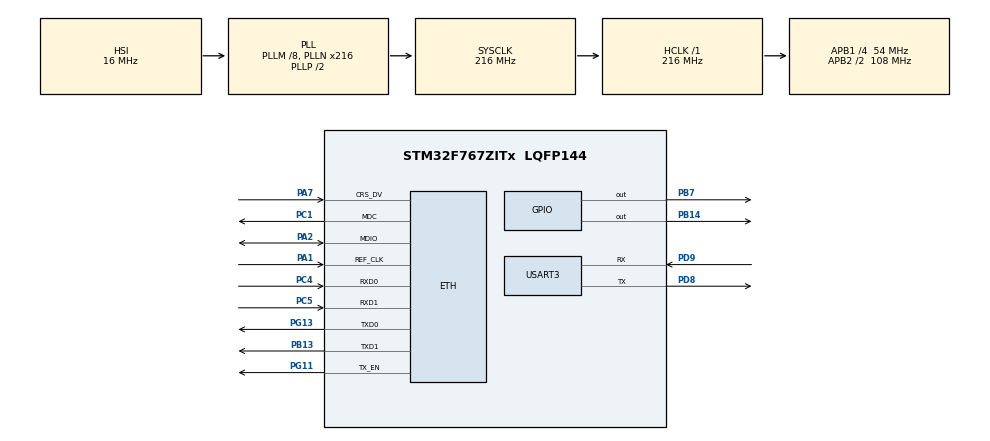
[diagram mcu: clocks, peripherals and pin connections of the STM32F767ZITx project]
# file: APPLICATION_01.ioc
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CORTEX_M7.default_mode_Activation=1
ETH.MediaInterface=HAL_ETH_RMII_MODE
ETH.RxMode=ETH_RXINTERRUPT_MODE
Mcu.Family=STM32F7
Mcu.Name=STM32F767ZITx
Mcu.Package=LQFP144
NVIC.ETH_IRQn=true\:0\:0\:false\:false\:true\:true\:true\:true
NVIC.PriorityGroup=NVIC_PRIORITYGROUP_4
PA1.Mode=RMII
PA1.Signal=ETH_REF_CLK
PA2.Mode=RMII
PA2.Signal=ETH_MDIO
PA7.Mode=RMII
PA7.Signal=ETH_CRS_DV
PB13.Mode=RMII
PB13.Signal=ETH_TXD1
PB14.Signal=GPIO_Output
PB7.Signal=GPIO_Output
PC1.Mode=RMII
PC1.Signal=ETH_MDC
PC4.Mode=RMII
PC4.Signal=ETH_RXD0
PC5.Mode=RMII
PC5.Signal=ETH_RXD1
PD8.Mode=Asynchronous
PD8.Signal=USART3_TX
PD9.Mode=Asynchronous
PD9.Signal=USART3_RX
PG11.Mode=RMII
PG11.Signal=ETH_TX_EN
PG13.Mode=RMII
PG13.Signal=ETH_TXD0
ProjectManager.HeapSize=0x200
ProjectManager.StackSize=0x400
ProjectManager.TargetToolchain=STM32CubeIDE
RCC.AHBFreq_Value=216000000
RCC.APB1CLKDivider=RCC_HCLK_DIV4
RCC.APB1Freq_Value=54000000
RCC.APB1TimFreq_Value=108000000
RCC.APB2CLKDivider=RCC_HCLK_DIV2
RCC.APB2Freq_Value=108000000
RCC.APB2TimFreq_Value=216000000
RCC.CortexFreq_Value=216000000
RCC.HCLKFreq_Value=216000000
RCC.HSE_VALUE=25000000
RCC.HSI_VALUE=16000000
RCC.LSE_VALUE=32768
RCC.PLLM=8
RCC.PLLN=216
RCC.PLLQ=9
RCC.SYSCLKFreq_VALUE=216000000
RCC.SYSCLKSource=RCC_SYSCLKSOURCE_PLLCLK
RCC.USBFreq_Value=48000000
RCC.VCOOutputFreq_Value=432000000
USART3.VirtualMode-Asynchronous=VM_ASYNC
VP_CRC_VS_CRC.Mode=CRC_Activate
VP_RNG_VS_RNG.Mode=RNG_Activate
board=custom

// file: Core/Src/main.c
/* USER CODE BEGIN Header */
/**
  ******************************************************************************
  * @file           : main.c
  * @brief          : Main program body
  ******************************************************************************
  * @attention
  *
  * Copyright (c) 2026 STMicroelectronics.
  * All rights reserved.
  *
  * This software is licensed under terms that can be found in the LICENSE file
  * in the root directory of this software component.
  * If no LICENSE file comes with this software, it is provided AS-IS.
  *
  ******************************************************************************
  */
/* USER CODE END Header */
#include <ota_support.h>
#include "main.h"
#include "string.h"

/* USER CODE BEGIN Includes */
#include <stdio.h>
#include <string.h>
#include "lan8742.h"

/* USER CODE END Includes */

#if defined ( __ICCARM__ ) /*!< IAR Compiler */
#pragma location=0x2007c000
ETH_DMADescTypeDef  DMARxDscrTab[ETH_RX_DESC_CNT]; /* Ethernet Rx DMA Descriptors */
#pragma location=0x2007c0a0
ETH_DMADescTypeDef  DMATxDscrTab[ETH_TX_DESC_CNT]; /* Ethernet Tx DMA Descriptors */

#elif defined ( __CC_ARM )  /* MDK ARM Compiler */

__attribute__((at(0x2007c000))) ETH_DMADescTypeDef  DMARxDscrTab[ETH_RX_DESC_CNT]; /* Ethernet Rx DMA Descriptors */
__attribute__((at(0x2007c0a0))) ETH_DMADescTypeDef  DMATxDscrTab[ETH_TX_DESC_CNT]; /* Ethernet Tx DMA Descriptors */

#elif defined ( __GNUC__ ) /* GNU Compiler */

ETH_DMADescTypeDef DMARxDscrTab[ETH_RX_DESC_CNT] __attribute__((section(".RxDecripSection"))); /* Ethernet Rx DMA Descriptors */
ETH_DMADescTypeDef DMATxDscrTab[ETH_TX_DESC_CNT] __attribute__((section(".TxDecripSection")));   /* Ethernet Tx DMA Descriptors */
#endif

ETH_TxPacketConfig TxConfig;

CRC_HandleTypeDef hcrc;

ETH_HandleTypeDef heth;

RNG_HandleTypeDef hrng;

UART_HandleTypeDef huart3;

void SystemClock_Config(void);
static void MPU_Config(void);
static void MX_GPIO_Init(void);
static void MX_ETH_Init(void);
static void MX_USART3_UART_Init(void);
static void MX_CRC_Init(void);
static void MX_RNG_Init(void);

int main(void)
{

  /* MPU Configuration--------------------------------------------------------*/
  MPU_Config();

  /* MCU Configuration--------------------------------------------------------*/

  /* Reset of all peripherals, Initializes the Flash interface and the Systick. */
  HAL_Init();

  /* Configure the system clock */
  SystemClock_Config();

  /* Initialize all configured peripherals */
  MX_GPIO_Init();
  MX_ETH_Init();
  MX_USART3_UART_Init();
  MX_CRC_Init();
  MX_RNG_Init();
  /* USER CODE BEGIN 2 */

  LAN8742_init();
  HAL_ETH_Start_IT(&heth);
  /* USER CODE END 2 */

  /* Infinite loop */
  /* USER CODE BEGIN WHILE */
  printf("Starting Application\r\n");
  while (1)
  {
	  HAL_GPIO_TogglePin(GPIOB,GPIO_PIN_7);
	  printf("Application running %ld\r\n",HAL_GetTick());
	  HAL_Delay(1000);
    /* USER CODE END WHILE */

    /* USER CODE BEGIN 3 */
	  if(ota_requested_flag){
		  HASH_compute_verify();
	  }

  }
  /* USER CODE END 3 */
}

void SystemClock_Config(void)
{
  RCC_OscInitTypeDef RCC_OscInitStruct = {0};
  RCC_ClkInitTypeDef RCC_ClkInitStruct = {0};

  /** Configure the main internal regulator output voltage
  */
  __HAL_RCC_PWR_CLK_ENABLE();
  __HAL_PWR_VOLTAGESCALING_CONFIG(PWR_REGULATOR_VOLTAGE_SCALE1);

  /** Initializes the RCC Oscillators according to the specified parameters
  * in the RCC_OscInitTypeDef structure.
  */
  RCC_OscInitStruct.OscillatorType = RCC_OSCILLATORTYPE_HSI;
  RCC_OscInitStruct.HSIState = RCC_HSI_ON;
  RCC_OscInitStruct.HSICalibrationValue = RCC_HSICALIBRATION_DEFAULT;
  RCC_OscInitStruct.PLL.PLLState = RCC_PLL_ON;
  RCC_OscInitStruct.PLL.PLLSource = RCC_PLLSOURCE_HSI;
  RCC_OscInitStruct.PLL.PLLM = 8;
  RCC_OscInitStruct.PLL.PLLN = 216;
  RCC_OscInitStruct.PLL.PLLP = RCC_PLLP_DIV2;
  RCC_OscInitStruct.PLL.PLLQ = 9;
  RCC_OscInitStruct.PLL.PLLR = 2;
  if (HAL_RCC_OscConfig(&RCC_OscInitStruct) != HAL_OK)
  {
    Error_Handler();
  }

  /** Activate the Over-Drive mode
  */
  if (HAL_PWREx_EnableOverDrive() != HAL_OK)
  {
    Error_Handler();
  }

  /** Initializes the CPU, AHB and APB buses clocks
  */
  RCC_ClkInitStruct.ClockType = RCC_CLOCKTYPE_HCLK|RCC_CLOCKTYPE_SYSCLK
                              |RCC_CLOCKTYPE_PCLK1|RCC_CLOCKTYPE_PCLK2;
  RCC_ClkInitStruct.SYSCLKSource = RCC_SYSCLKSOURCE_PLLCLK;
  RCC_ClkInitStruct.AHBCLKDivider = RCC_SYSCLK_DIV1;
  RCC_ClkInitStruct.APB1CLKDivider = RCC_HCLK_DIV4;
  RCC_ClkInitStruct.APB2CLKDivider = RCC_HCLK_DIV2;

  if (HAL_RCC_ClockConfig(&RCC_ClkInitStruct, FLASH_LATENCY_7) != HAL_OK)
  {
    Error_Handler();
  }
}

static void MX_CRC_Init(void)
{

  hcrc.Instance = CRC;
  hcrc.Init.DefaultPolynomialUse = DEFAULT_POLYNOMIAL_ENABLE;
  hcrc.Init.DefaultInitValueUse = DEFAULT_INIT_VALUE_ENABLE;
  hcrc.Init.InputDataInversionMode = CRC_INPUTDATA_INVERSION_NONE;
  hcrc.Init.OutputDataInversionMode = CRC_OUTPUTDATA_INVERSION_DISABLE;
  hcrc.InputDataFormat = CRC_INPUTDATA_FORMAT_BYTES;
  if (HAL_CRC_Init(&hcrc) != HAL_OK)
  {
    Error_Handler();
  }

}

static void MX_ETH_Init(void)
{

   static uint8_t MACAddr[6];

  heth.Instance = ETH;
  MACAddr[0] = 0x00;
  MACAddr[1] = 0x80;
  MACAddr[2] = 0xE1;
  MACAddr[3] = 0x00;
  MACAddr[4] = 0x00;
  MACAddr[5] = 0x00;
  heth.Init.MACAddr = &MACAddr[0];
  heth.Init.MediaInterface = HAL_ETH_RMII_MODE;
  heth.Init.TxDesc = DMATxDscrTab;
  heth.Init.RxDesc = DMARxDscrTab;
  heth.Init.RxBuffLen = 1524;

  if (HAL_ETH_Init(&heth) != HAL_OK)
  {
    Error_Handler();
  }

  memset(&TxConfig, 0 , sizeof(ETH_TxPacketConfig));
  TxConfig.Attributes = ETH_TX_PACKETS_FEATURES_CSUM | ETH_TX_PACKETS_FEATURES_CRCPAD;
  TxConfig.ChecksumCtrl = ETH_CHECKSUM_IPHDR_PAYLOAD_INSERT_PHDR_CALC;
  TxConfig.CRCPadCtrl = ETH_CRC_PAD_INSERT;

}

static void MX_RNG_Init(void)
{

  hrng.Instance = RNG;
  if (HAL_RNG_Init(&hrng) != HAL_OK)
  {
    Error_Handler();
  }

}

static void MX_USART3_UART_Init(void)
{

  huart3.Instance = USART3;
  huart3.Init.BaudRate = 115200;
  huart3.Init.WordLength = UART_WORDLENGTH_8B;
  huart3.Init.StopBits = UART_STOPBITS_1;
  huart3.Init.Parity = UART_PARITY_NONE;
  huart3.Init.Mode = UART_MODE_TX_RX;
  huart3.Init.HwFlowCtl = UART_HWCONTROL_NONE;
  huart3.Init.OverSampling = UART_OVERSAMPLING_16;
  huart3.Init.OneBitSampling = UART_ONE_BIT_SAMPLE_DISABLE;
  huart3.AdvancedInit.AdvFeatureInit = UART_ADVFEATURE_NO_INIT;
  if (HAL_UART_Init(&huart3) != HAL_OK)
  {
    Error_Handler();
  }

}

static void MX_GPIO_Init(void)
{
  GPIO_InitTypeDef GPIO_InitStruct = {0};

  /* GPIO Ports Clock Enable */
  __HAL_RCC_GPIOC_CLK_ENABLE();
  __HAL_RCC_GPIOA_CLK_ENABLE();
  __HAL_RCC_GPIOB_CLK_ENABLE();
  __HAL_RCC_GPIOD_CLK_ENABLE();
  __HAL_RCC_GPIOG_CLK_ENABLE();

  /*Configure GPIO pin Output Level */
  HAL_GPIO_WritePin(GPIOB, GPIO_PIN_14|GPIO_PIN_7, GPIO_PIN_RESET);

  /*Configure GPIO pins : PB14 PB7 */
  GPIO_InitStruct.Pin = GPIO_PIN_14|GPIO_PIN_7;
  GPIO_InitStruct.Mode = GPIO_MODE_OUTPUT_PP;
  GPIO_InitStruct.Pull = GPIO_NOPULL;
  GPIO_InitStruct.Speed = GPIO_SPEED_FREQ_LOW;
  HAL_GPIO_Init(GPIOB, &GPIO_InitStruct);

}

/* USER CODE BEGIN 4 */

/**************************************************************************************************************/
// FOR IO REDIRECTION, USE printf()
#ifdef __GNUC__
int __io_putchar(int ch)
#else
int fputc(int ch, FILE *f)
#endif /* __GNUC__ */
{
  HAL_UART_Transmit(&huart3, (uint8_t *)&ch, 1, HAL_MAX_DELAY);
  return ch;
}
/****************************************************************************************************************/
/* USER CODE END 4 */

 /* MPU Configuration */

void MPU_Config(void)
{
  MPU_Region_InitTypeDef MPU_InitStruct = {0};

  /* Disables the MPU */
  HAL_MPU_Disable();

  /** Initializes and configures the Region and the memory to be protected
  */
  MPU_InitStruct.Enable = MPU_REGION_ENABLE;
  MPU_InitStruct.Number = MPU_REGION_NUMBER0;
  MPU_InitStruct.BaseAddress = 0x0;
  MPU_InitStruct.Size = MPU_REGION_SIZE_4GB;
  MPU_InitStruct.SubRegionDisable = 0x87;
  MPU_InitStruct.TypeExtField = MPU_TEX_LEVEL0;
  MPU_InitStruct.AccessPermission = MPU_REGION_NO_ACCESS;
  MPU_InitStruct.DisableExec = MPU_INSTRUCTION_ACCESS_DISABLE;
  MPU_InitStruct.IsShareable = MPU_ACCESS_SHAREABLE;
  MPU_InitStruct.IsCacheable = MPU_ACCESS_NOT_CACHEABLE;
  MPU_InitStruct.IsBufferable = MPU_ACCESS_NOT_BUFFERABLE;

  HAL_MPU_ConfigRegion(&MPU_InitStruct);
  /* Enables the MPU */
  HAL_MPU_Enable(MPU_PRIVILEGED_DEFAULT);

}

void Error_Handler(void)
{
  __disable_irq();
  while (1)
  {
  }
}
